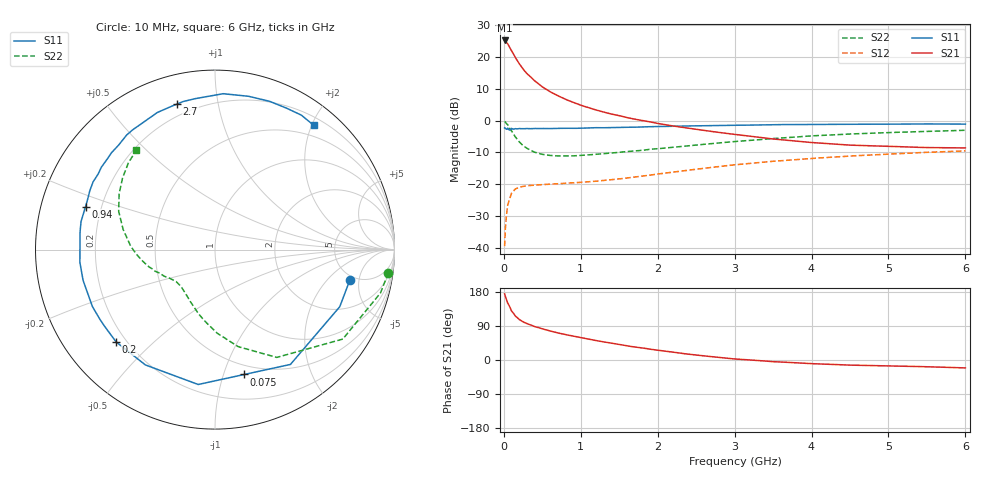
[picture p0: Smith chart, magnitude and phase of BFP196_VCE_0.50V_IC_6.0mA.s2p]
! Infineon Technologies  Discrete & RF Semiconductors
! BFP196
! VCE = 0.50V,  IC = 6.0mA
! Common Emitter S-Parameters:  Jan 2016
# GHz  S  MA  R  50
!  f  S11  S21  S12  S22
! GHz  MAG  ANG  MAG  ANG  MAG  ANG  MAG  ANG
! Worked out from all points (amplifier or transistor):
!   210 points, 10 MHz to 6 GHz, reference 50 ohm
!   highest |S21| = 25.3 dB at 10 MHz (marker M1)
!   |S21| within 3 dB of that: start of sweep to 95.28 MHz
!   unconditionally stable (mu >= 1): 961.8 MHz to end of sweep
!   at 185 MHz: K = 0.23, MSG = 19.8 dB, |S12| = -21.1 dB
!   at 1.52 GHz: K = 1.22, MAG = 7.0 dB, |S12| = -18.3 dB
!   at 6 GHz: K = 1.06, MAG = -1.1 dB, |S12| = -9.5 dB
!   S11 on the Smith chart (normalised r, x): 10 MHz: 4.53, -3.75; 75 MHz: 0.41, -1.17; 200 MHz: 0.16, -0.39; 940 MHz: 0.14, +0.16; 2.7 GHz: 0.14, +0.76; 6 GHz: 0.32, +2.03
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0.01  0.7707 -12.6  18.35 174.5  0.0106 84.9  0.9742 -7.7
0.02  0.7645 -24.6  17.83 167.0  0.0201 79.5  0.9531 -14.7
0.05  0.7655 -56.7  16.29 150.2  0.0469 62.0  0.8692 -35.0
0.075  0.7146 -76.8  14.28 141.0  0.0589 51.2  0.7621 -46.1
0.1  0.7573 -97.1  12.74 129.3  0.0723 44.2  0.6922 -60.2
0.15  0.7505 -121.1  9.828 115.8  0.0842 34.1  0.5562 -76.5
0.2  0.7537 -136.9  7.919 106.9  0.09 28.1  0.4659 -88.5
0.24  0.749 -145.2  6.765 101.9  0.092 25.0  0.4164 -95.6
0.3  0.7531 -155.1  5.521 95.7  0.0949 22.3  0.3686 -104.5
0.4  0.7547 -166.9  4.25 88.2  0.0972 19.7  0.3197 -115.6
0.5  0.7561 -174.6  3.413 82.2  0.0986 18.9  0.2958 -123.3
0.6  0.7524 178.5  2.866 76.6  0.1004 19.0  0.2843 -128.8
0.7  0.7582 172.6  2.482 71.4  0.1015 19.3  0.2793 -133.2
0.94  0.7599 161.6  1.867 61.4  0.1059 21.6  0.2813 -141.0
1.02  0.7637 157.9  1.725 58.2  0.1074 22.4  0.2853 -142.8
1.4  0.7821 144.0  1.273 44.4  0.118 26.0  0.3099 -150.2
2.02  0.8098 124.0  0.899 25.3  0.1458 30.5  0.3641 -162.7
2.7  0.8382 104.6  0.678 8.9  0.1841 29.2  0.4363 -176.4
3.1  0.8501 95.4  0.59 1.5  0.2077 26.0  0.4799 175.4
4.1  0.8743 76.1  0.446 -10.3  0.2594 16.3  0.5846 156.5
5.1  0.8837 62.0  0.392 -16.0  0.3024 5.4  0.6566 140.8
6  0.8844 51.6  0.373 -20.9  0.3349 -5.0  0.7075 128.2
